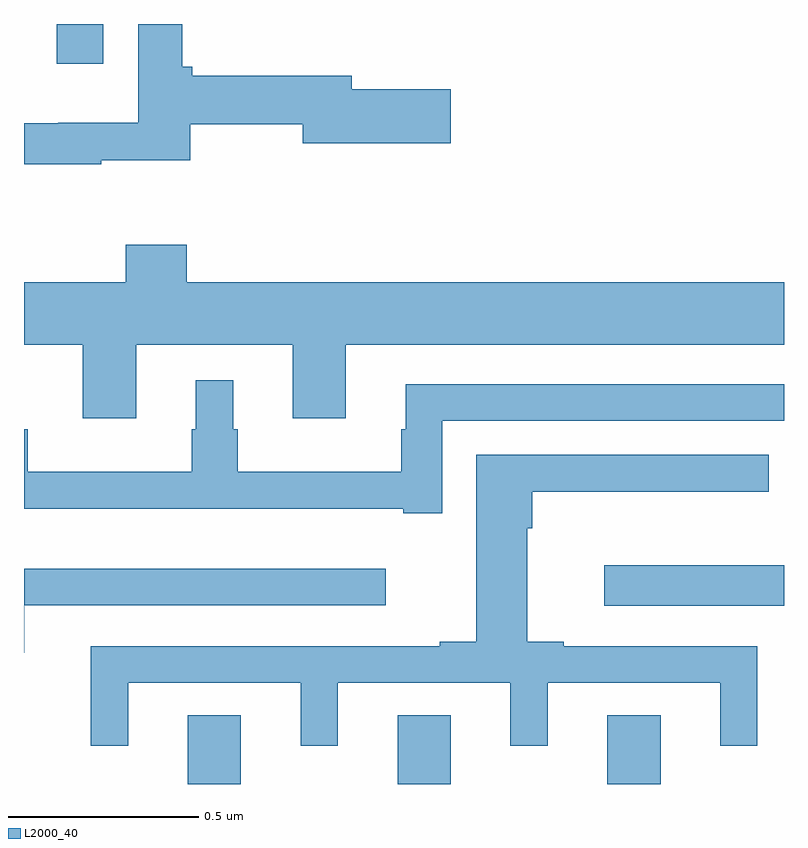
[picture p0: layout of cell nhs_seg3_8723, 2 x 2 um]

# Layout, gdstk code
import gdstk
lib = gdstk.Library(unit=1e-6, precision=1e-09)
def R(c, l, rs):  # rectangles x0, y0, x1, y1
    for r in rs: c.add(gdstk.rectangle(r[:2], r[2:], *l))
def A(c, l, x, y, w, h, nx, ny, dx, dy):  # array of equal rectangles
    R(c, l, [(x+i*dx, y+j*dy, x+i*dx+w, y+j*dy+h) for i in range(nx) for j in range(ny)])
def P(c, l, *ps):  # polygons
    for p in ps: c.add(gdstk.Polygon(p, *l))
L2000_40 = (2000, 40)

nhs_seg3_8723 = lib.new_cell('nhs_seg3_8723')
A(nhs_seg3_8723, L2000_40, 219.431, 726.4, 0.14, 0.181, 3, 1, 0.552, 0)
R(nhs_seg3_8723, L2000_40, [(220.527,726.869,221,726.976), (219.086,728.295,219.208,728.4)])
P(nhs_seg3_8723, L2000_40, [(219.203,728.041),(219.438,728.041),(219.438,728.136),(219.734,728.136),(219.734,728.086),(220.123,728.086),(220.123,728.228),(219.862,728.228),(219.862,728.264),(219.443,728.264),(219.443,728.288),(219.416,728.288),(219.416,728.4),(219.3,728.4),(219.3,728.14),(219.09,728.14),(219.09,728.139),(219,728.139),(219,728.031),(219.203,728.031)],
  [(219.295,727.556),(219.707,727.556),(219.707,727.362),(219.847,727.362),(219.847,727.556),(221,727.556),(221,727.72),(219.428,727.72),(219.428,727.819),(219.268,727.819),(219.268,727.72),(219,727.72),(219,727.556),(219.155,727.556),(219.155,727.362),(219.295,727.362)],
  [(220.101,727.356),(221,727.356),(221,727.452),(220.004,727.452),(220.004,727.334),(219.993,727.334),(219.993,727.222),(219.562,727.222),(219.562,727.334),(219.55,727.334),(219.55,727.462),(219.452,727.462),(219.452,727.334),(219.441,727.334),(219.441,727.222),(219.01,727.222),(219.01,727.334),(219,727.334),(219,727.124),(219.998,727.124),(219.998,727.113),(220.101,727.113)],
  [(219.274,726.666),(219.728,726.666),(219.728,726.501),(219.826,726.501),(219.826,726.666),(220.28,726.666),(220.28,726.501),(220.378,726.501),(220.378,726.666),(220.832,726.666),(220.832,726.501),(220.93,726.501),(220.93,726.762),(220.42,726.762),(220.42,726.775),(220.324,726.775),(220.324,727.073),(220.337,727.073),(220.337,727.169),(220.96,727.169),(220.96,727.266),(220.19,727.266),(220.19,726.775),(220.094,726.775),(220.094,726.762),(219.176,726.762),(219.176,726.501),(219.274,726.501)],
  [(219.001,726.87),(219.952,726.87),(219.952,726.967),(219,726.967),(219,726.746),(219.001,726.746)])

lib.write_gds('nhs_seg3_8723.gds')
